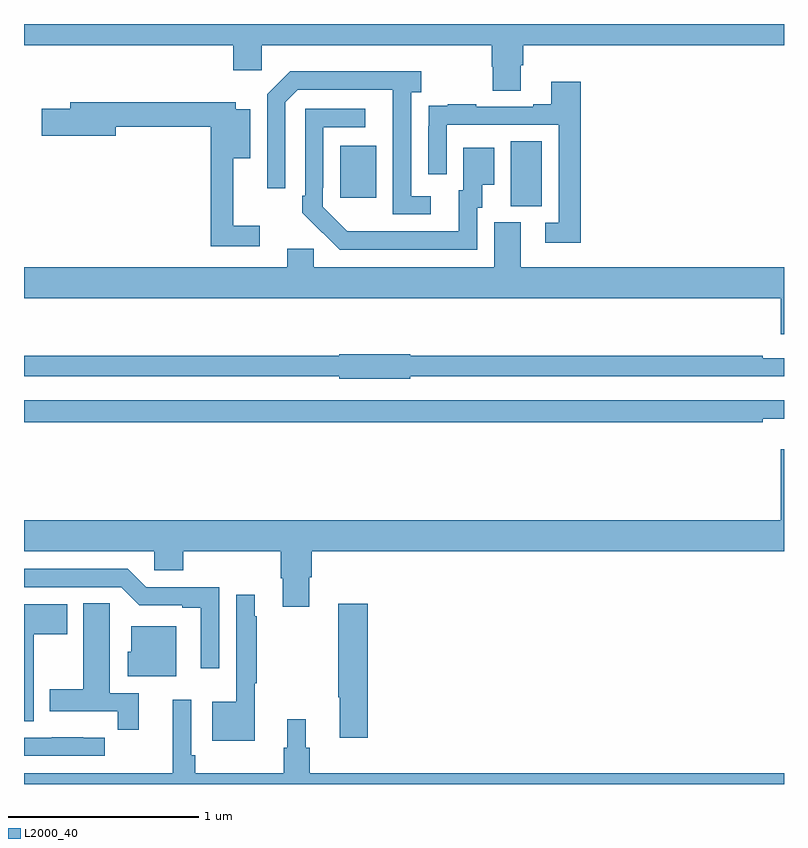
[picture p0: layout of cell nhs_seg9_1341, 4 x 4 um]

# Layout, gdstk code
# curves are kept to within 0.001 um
import gdstk
lib = gdstk.Library(unit=1e-6, precision=1e-09)
def R(c, l, rs):  # rectangles x0, y0, x1, y1
    for r in rs: c.add(gdstk.rectangle(r[:2], r[2:], *l))
def P(c, l, *ps):  # polygons
    for p in ps: c.add(gdstk.Polygon(p, *l))
L2000_40 = (2000, 40)

nhs_seg9_1341 = lib.new_cell('nhs_seg9_1341')
R(nhs_seg9_1341, L2000_40, [(187.562,1227.541,187.726,1227.884), (186.665,1227.585,186.853,1227.859)])
P(nhs_seg9_1341, L2000_40, [(185,1228.388),(186.101,1228.388),(186.101,1228.257),(186.252,1228.257),(186.252,1228.388),(187.463,1228.388),(187.463,1228.275),(187.468,1228.275),(187.468,1228.15),(187.615,1228.15),(187.615,1228.282),(187.628,1228.282),(187.628,1228.388),(189,1228.388),(189,1228.5),(185,1228.5)],
  [(187.141,1227.594),(187.038,1227.594),(187.038,1228.142),(187.09,1228.142),(187.09,1228.252),(186.4,1228.252),(186.279,1228.131),(186.279,1227.636),(186.375,1227.636),(186.375,1228.089),(186.441,1228.155),(186.941,1228.155),(186.942,1227.498),(187.141,1227.498)],
  [(187.931,1228.195),(187.775,1228.195),(187.775,1228.078),(187.679,1228.078),(187.679,1228.065),(187.379,1228.065),(187.379,1228.078),(187.231,1228.078),(187.231,1228.071),(187.129,1228.071),(187.129,1227.962),(187.128,1227.962),(187.128,1227.708),(187.224,1227.708),(187.224,1227.969),(187.815,1227.969),(187.815,1227.453),(187.743,1227.453),(187.743,1227.348),(187.931,1227.348)],
  [(186.241,1227.439),(186.101,1227.439),(186.101,1227.794),(186.19,1227.794),(186.19,1228.051),(186.114,1228.051),(186.114,1228.087),(185.243,1228.087),(185.243,1228.053),(185.094,1228.053),(185.094,1227.911),(185.482,1227.911),(185.482,1227.958),(185.983,1227.958),(185.983,1227.33),(186.241,1227.33)],
  [(187.386,1227.534),(187.411,1227.534),(187.411,1227.653),(187.474,1227.653),(187.474,1227.85),(187.313,1227.85),(187.313,1227.624),(187.289,1227.624),(187.289,1227.408),(186.702,1227.409),(186.573,1227.537),(186.573,1227.637),(186.576,1227.637),(186.576,1227.957),(186.796,1227.957),(186.796,1228.053),(186.48,1228.053),(186.48,1227.595),(186.465,1227.595),(186.465,1227.507),(186.662,1227.312),(187.386,1227.312)],
  [(189,1227.22),(187.615,1227.22),(187.615,1227.456),(187.475,1227.456),(187.475,1227.22),(186.525,1227.22),(186.525,1227.318),(186.386,1227.318),(186.386,1227.22),(185,1227.22),(185,1227.056),(188.984,1227.056),(188.984,1226.868),(189,1226.868)],
  [(187.032,1226.646),(189,1226.646),(189,1226.742),(188.888,1226.742),(188.888,1226.755),(187.032,1226.755),(187.032,1226.763),(186.66,1226.763),(186.66,1226.755),(185,1226.755),(185,1226.646),(186.66,1226.646),(186.66,1226.633),(187.032,1226.633)],
  [(188.888,1226.423),(189,1226.423),(189,1226.52),(185,1226.52),(185,1226.404),(188.888,1226.404)],
  [(186.502,1225.587),(186.515,1225.587),(186.515,1225.724),(189,1225.724),(189,1226.263),(188.984,1226.263),(188.984,1225.888),(185,1225.888),(185,1225.724),(185.685,1225.724),(185.685,1225.626),(185.837,1225.626),(185.837,1225.724),(186.35,1225.724),(186.35,1225.582),(186.362,1225.582),(186.362,1225.434),(186.502,1225.434)],
  [(186.027,1225.536),(185.643,1225.536),(185.547,1225.632),(185,1225.632),(185,1225.536),(185.511,1225.536),(185.607,1225.44),(185.834,1225.44),(185.834,1225.428),(185.93,1225.428),(185.93,1225.11),(186.027,1225.11)],
  [(186.214,1225.03),(186.226,1225.03),(186.226,1225.382),(186.214,1225.382),(186.214,1225.495),(186.117,1225.495),(186.117,1224.934),(185.99,1224.934),(185.99,1224.728),(186.214,1224.728)],
  [(185.603,1224.978),(185.452,1224.978),(185.452,1225.34),(185.451,1225.34),(185.451,1225.451),(185.312,1225.451),(185.312,1224.999),(185.135,1224.999),(185.135,1224.882),(185.494,1224.882),(185.494,1224.786),(185.603,1224.786)],
  [(186.809,1225.45),(186.655,1225.45),(186.655,1224.956),(186.662,1224.956),(186.662,1224.744),(186.809,1224.744)],
  [(185.05,1225.288),(185.227,1225.288),(185.227,1225.447),(185,1225.447),(185,1224.829),(185.05,1224.829)],
  [(185.8,1225.33),(185.564,1225.33),(185.564,1225.197),(185.546,1225.197),(185.546,1225.067),(185.8,1225.067)],
  [(189,1224.556),(186.503,1224.556),(186.503,1224.69),(186.484,1224.69),(186.484,1224.841),(186.386,1224.841),(186.386,1224.69),(186.367,1224.69),(186.367,1224.556),(185.9,1224.556),(185.9,1224.652),(185.88,1224.652),(185.88,1224.943),(185.783,1224.943),(185.783,1224.556),(185,1224.556),(185,1224.5),(189,1224.5)],
  [(185.425,1224.744),(185.312,1224.744),(185.312,1224.745),(185.146,1224.745),(185.146,1224.744),(185,1224.744),(185,1224.648),(185.425,1224.648)])

lib.write_gds('nhs_seg9_1341.gds')
